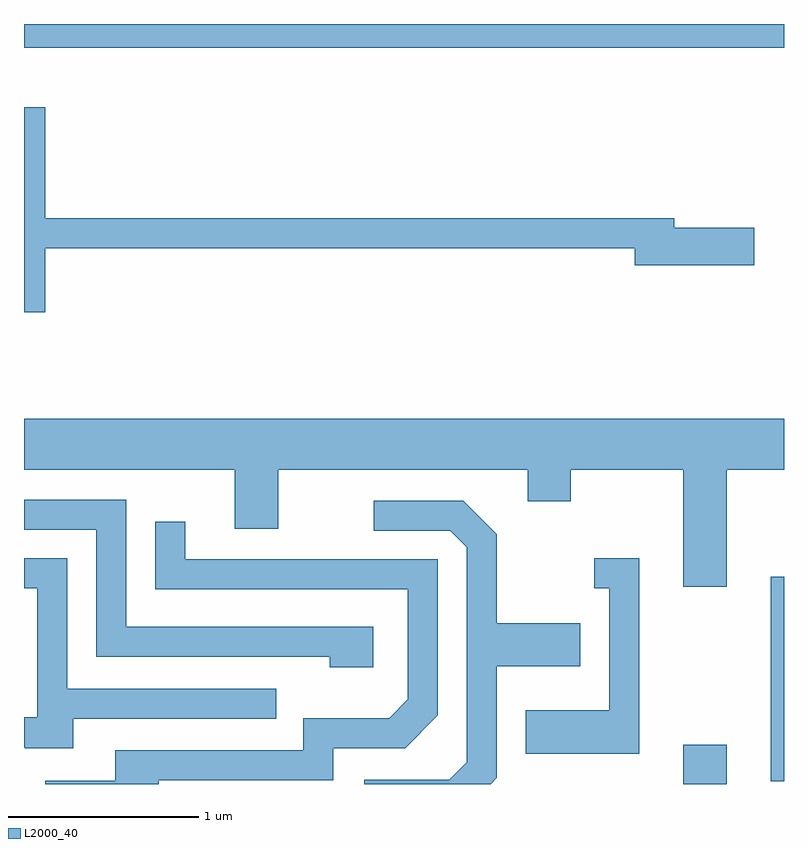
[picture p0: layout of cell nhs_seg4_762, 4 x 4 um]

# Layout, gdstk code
import gdstk
lib = gdstk.Library(unit=1e-6, precision=1e-09)
def R(c, l, rs):  # rectangles x0, y0, x1, y1
    for r in rs: c.add(gdstk.rectangle(r[:2], r[2:], *l))
def P(c, l, *ps):  # polygons
    for p in ps: c.add(gdstk.Polygon(p, *l))
L2000_40 = (2000, 40)

nhs_seg4_762 = lib.new_cell('nhs_seg4_762')
R(nhs_seg4_762, L2000_40, [(211.081,1281.982,211.309,1282.189), (211.541,1281.996,211.611,1283.074), (207.611,1285.856,211.611,1285.982)])
P(nhs_seg4_762, L2000_40, [(207.724,1284.801),(210.826,1284.801),(210.826,1284.711),(211.454,1284.711),(211.454,1284.909),(211.034,1284.909),(211.034,1284.959),(207.724,1284.959),(207.724,1285.544),(207.611,1285.544),(207.611,1284.466),(207.724,1284.466)],
  [(211.309,1283.636),(211.611,1283.636),(211.611,1283.904),(207.611,1283.904),(207.611,1283.636),(208.721,1283.636),(208.721,1283.326),(208.949,1283.326),(208.949,1283.636),(210.261,1283.636),(210.261,1283.471),(210.489,1283.471),(210.489,1283.636),(211.081,1283.636),(211.081,1283.021),(211.309,1283.021)],
  [(209.449,1282.809),(208.149,1282.809),(208.149,1283.479),(207.611,1283.479),(207.611,1283.321),(207.991,1283.321),(207.991,1282.651),(209.221,1282.651),(209.221,1282.596),(209.449,1282.596)],
  [(210.099,1282.014),(210.099,1282.601),(210.539,1282.601),(210.539,1282.829),(210.099,1282.829),(210.099,1283.297),(209.922,1283.474),(209.453,1283.474),(209.453,1283.316),(209.854,1283.316),(209.941,1283.229),(209.941,1282.097),(209.849,1282.004),(209.403,1282.004),(209.403,1281.982),(210.067,1281.982)],
  [(208.319,1282.001),(209.239,1282.001),(209.239,1282.171),(209.617,1282.171),(209.789,1282.344),(209.789,1283.164),(208.459,1283.164),(208.459,1283.363),(208.301,1283.363),(208.301,1283.006),(209.631,1283.006),(209.631,1282.427),(209.534,1282.329),(209.081,1282.329),(209.081,1282.159),(208.091,1282.159),(208.091,1281.999),(207.723,1281.999),(207.723,1281.982),(208.319,1281.982)],
  [(210.849,1283.169),(210.613,1283.169),(210.613,1283.011),(210.691,1283.011),(210.691,1282.369),(210.251,1282.369),(210.251,1282.141),(210.849,1282.141)],
  [(207.869,1282.326),(208.938,1282.326),(208.938,1282.484),(207.839,1282.484),(207.839,1283.169),(207.611,1283.169),(207.611,1283.011),(207.681,1283.011),(207.681,1282.334),(207.611,1282.334),(207.611,1282.176),(207.615,1282.176),(207.615,1282.171),(207.869,1282.171)])

lib.write_gds('nhs_seg4_762.gds')
